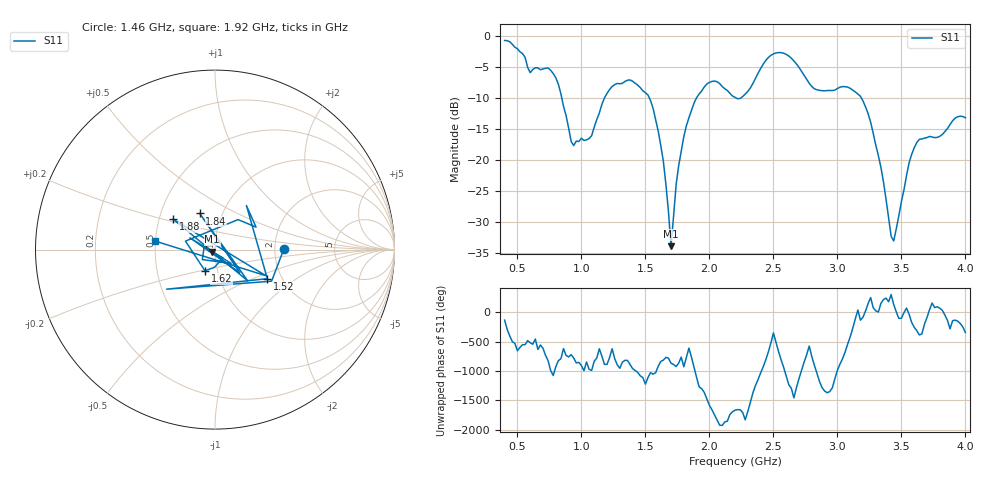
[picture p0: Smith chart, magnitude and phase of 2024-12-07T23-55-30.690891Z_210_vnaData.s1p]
!Created with skrf (http://scikit-rf.org).
# Hz S RI R 50.0
!freq ReS11 ImS11
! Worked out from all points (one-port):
!   181 points, 400 MHz to 4 GHz, reference 50 ohm
!   lowest |S11| = -33.9 dB at 1.7 GHz (marker M1), VSWR 1.04, Z = 48.4 - j1.15 ohm
!   |S11| at or under -10 dB: 846.5 MHz to 1.18 GHz (333.6 MHz wide, 32.9 % of centre); 1.531 GHz to 1.899 GHz (368.2 MHz wide, 21.5 % of centre); 3.187 GHz to end of sweep (the widest 3 of 4)
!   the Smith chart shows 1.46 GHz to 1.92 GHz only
!   S11 on the Smith chart (normalised r, x): 1.46 GHz: 2.24, +0.00; 1.52 GHz: 1.68, -0.61; 1.62 GHz: 0.87, -0.21; 1.84 GHz: 0.78, +0.33; 1.88 GHz: 0.59, +0.22; 1.92 GHz: 0.49, +0.05
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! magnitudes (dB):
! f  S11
! 400 MHz  -0.7
! 600 MHz  -5.9
! 760 MHz  -5.6
! 860 MHz  -11.3
! 940 MHz  -17.7
! 1.08 GHz  -16.1
! 1.18 GHz  -10.0
! 1.3 GHz  -7.7
! 1.46 GHz  -8.3
! 1.52 GHz  -9.5
! 1.62 GHz  -17.7
! 1.66 GHz  -23.9
! 1.7 GHz  -33.9
! 1.76 GHz  -20.9
! 1.84 GHz  -13.2
! 1.88 GHz  -10.8
! 1.92 GHz  -9.4
! 2.04 GHz  -7.3
! 2.2 GHz  -9.9
! 2.48 GHz  -3.1
! 2.66 GHz  -4.0
! 2.82 GHz  -8.5
! 3.1 GHz  -8.5
! 3.26 GHz  -13.9
! 3.44 GHz  -33.0
! 3.56 GHz  -20.4
! 3.64 GHz  -16.7
! 4 GHz  -13.2
